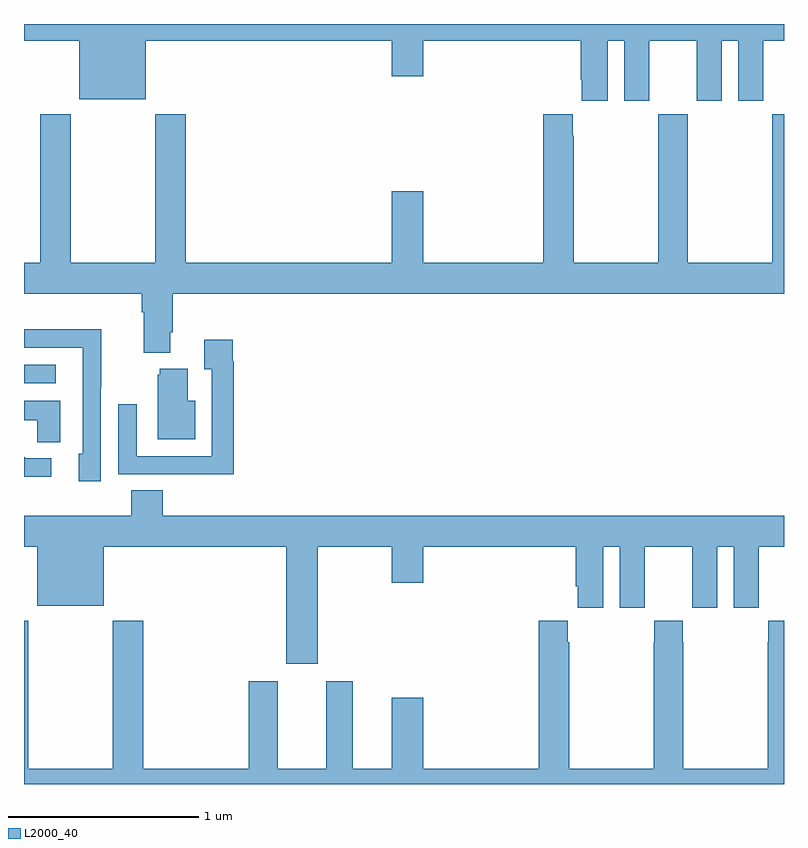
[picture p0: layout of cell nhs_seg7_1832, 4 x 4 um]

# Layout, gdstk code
import gdstk
lib = gdstk.Library(unit=1e-6, precision=1e-09)
def R(c, l, rs):  # rectangles x0, y0, x1, y1
    for r in rs: c.add(gdstk.rectangle(r[:2], r[2:], *l))
def P(c, l, *ps):  # polygons
    for p in ps: c.add(gdstk.Polygon(p, *l))
L2000_40 = (2000, 40)

nhs_seg7_1832 = lib.new_cell('nhs_seg7_1832')
R(nhs_seg7_1832, L2000_40, [(235,1036.11,235.168,1036.206)])
P(nhs_seg7_1832, L2000_40, [(238.072,1037.912),(238.16,1037.912),(238.16,1037.595),(238.291,1037.595),(238.291,1037.912),(238.541,1037.912),(238.541,1037.595),(238.672,1037.595),(238.672,1037.912),(238.76,1037.912),(238.76,1037.595),(238.891,1037.595),(238.891,1037.912),(239,1037.912),(239,1038),(235,1038),(235,1037.912),(235.292,1037.912),(235.292,1037.603),(235.642,1037.603),(235.642,1037.912),(236.936,1037.912),(236.936,1037.724),(237.1,1037.724),(237.1,1037.912),(237.929,1037.912),(237.929,1037.707),(237.935,1037.707),(237.935,1037.595),(238.072,1037.595)],
  [(235.771,1036.378),(235.784,1036.378),(235.784,1036.58),(239,1036.58),(239,1037.524),(238.939,1037.524),(238.939,1036.744),(238.494,1036.744),(238.494,1037.524),(238.339,1037.524),(238.339,1036.744),(237.894,1036.744),(237.894,1037.411),(237.889,1037.411),(237.889,1037.524),(237.734,1037.524),(237.734,1036.744),(237.1,1036.744),(237.1,1037.119),(236.936,1037.119),(236.936,1036.744),(235.85,1036.744),(235.85,1037.524),(235.69,1037.524),(235.69,1036.744),(235.245,1036.744),(235.245,1037.524),(235.085,1037.524),(235.085,1036.744),(235,1036.744),(235,1036.58),(235.619,1036.58),(235.619,1036.484),(235.631,1036.484),(235.631,1036.271),(235.771,1036.271)],
  [(235.404,1036.087),(235.407,1036.087),(235.407,1036.394),(235,1036.394),(235,1036.296),(235.308,1036.296),(235.308,1035.738),(235.289,1035.738),(235.289,1035.594),(235.404,1035.594)],
  [(236.105,1036.226),(236.098,1036.226),(236.098,1036.339),(235.949,1036.339),(235.949,1036.183),(235.989,1036.183),(235.989,1035.726),(235.593,1035.726),(235.593,1036),(235.497,1036),(235.497,1035.63),(235.813,1035.63),(235.813,1035.629),(236.105,1035.629)],
  [(235.9,1036.018),(235.861,1036.018),(235.861,1036.186),(235.715,1036.186),(235.715,1036.155),(235.703,1036.155),(235.703,1035.815),(235.9,1035.815)],
  [(235.192,1036.018),(235,1036.018),(235,1035.914),(235.071,1035.914),(235.071,1035.799),(235.192,1035.799)],
  [(235.144,1035.714),(235.009,1035.714),(235,1035.723),(235,1035.617),(235.144,1035.617)],
  [(236.545,1035.248),(236.936,1035.248),(236.936,1035.06),(237.1,1035.06),(237.1,1035.248),(237.905,1035.248),(237.905,1035.04),(237.914,1035.04),(237.914,1034.928),(238.048,1034.928),(238.048,1035.248),(238.136,1035.248),(238.136,1034.928),(238.266,1034.928),(238.266,1035.04),(238.267,1035.04),(238.267,1035.248),(238.517,1035.248),(238.517,1035.04),(238.518,1035.04),(238.518,1034.928),(238.648,1034.928),(238.648,1035.248),(238.736,1035.248),(238.736,1034.928),(238.866,1034.928),(238.866,1035.04),(238.867,1035.04),(238.867,1035.248),(239,1035.248),(239,1035.412),(235.73,1035.412),(235.73,1035.545),(235.565,1035.545),(235.565,1035.412),(235,1035.412),(235,1035.248),(235.07,1035.248),(235.07,1034.939),(235.42,1034.939),(235.42,1035.248),(236.381,1035.248),(236.381,1034.634),(236.545,1034.634)],
  [(239,1034.86),(238.917,1034.86),(238.917,1034.747),(238.915,1034.747),(238.915,1034.08),(238.47,1034.08),(238.47,1034.747),(238.467,1034.747),(238.467,1034.86),(238.317,1034.86),(238.317,1034.747),(238.315,1034.747),(238.315,1034.08),(237.87,1034.08),(237.87,1034.747),(237.863,1034.747),(237.863,1034.86),(237.71,1034.86),(237.71,1034.08),(237.1,1034.08),(237.1,1034.455),(236.936,1034.455),(236.936,1034.08),(236.731,1034.08),(236.731,1034.542),(236.591,1034.542),(236.591,1034.08),(236.335,1034.08),(236.335,1034.542),(236.183,1034.542),(236.183,1034.08),(235.628,1034.08),(235.628,1034.86),(235.468,1034.86),(235.468,1034.08),(235.023,1034.08),(235.023,1034.86),(235,1034.86),(235,1034),(239,1034)])

lib.write_gds('nhs_seg7_1832.gds')
